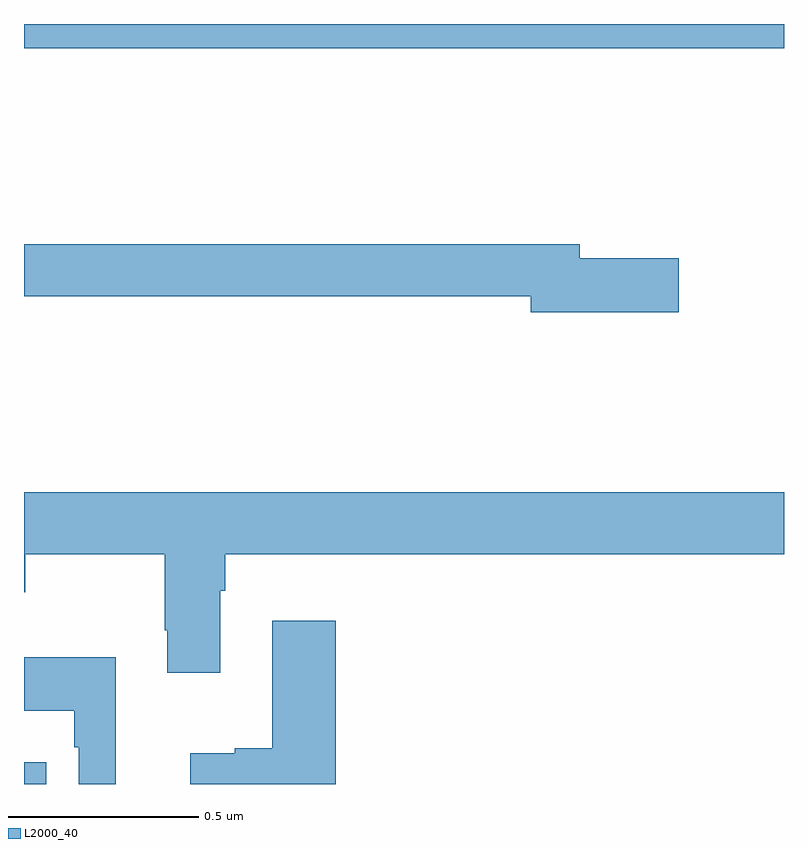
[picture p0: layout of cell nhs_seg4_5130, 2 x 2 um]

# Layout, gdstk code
import gdstk
lib = gdstk.Library(unit=1e-6, precision=1e-09)
def R(c, l, rs):  # rectangles x0, y0, x1, y1
    for r in rs: c.add(gdstk.rectangle(r[:2], r[2:], *l))
def P(c, l, *ps):  # polygons
    for p in ps: c.add(gdstk.Polygon(p, *l))
L2000_40 = (2000, 40)

nhs_seg4_5130 = lib.new_cell('nhs_seg4_5130')
R(nhs_seg4_5130, L2000_40, [(174,778.9,174.059,778.957), (174,780.836,176,780.9)])
P(nhs_seg4_5130, L2000_40, [(175.723,780.284),(175.462,780.284),(175.462,780.32),(174,780.32),(174,780.184),(175.334,780.184),(175.334,780.142),(175.723,780.142)],
  [(174.517,779.408),(174.53,779.408),(174.53,779.504),(176,779.504),(176,779.668),(174,779.668),(174,779.405),(174.003,779.405),(174.003,779.504),(174.37,779.504),(174.37,779.305),(174.377,779.305),(174.377,779.193),(174.517,779.193)],
  [(174.821,779.329),(174.653,779.329),(174.653,778.994),(174.554,778.994),(174.554,778.981),(174.438,778.981),(174.438,778.9),(174.821,778.9)],
  [(174.242,779.233),(174,779.233),(174,779.093),(174.132,779.093),(174.132,778.997),(174.144,778.997),(174.144,778.9),(174.242,778.9)])

lib.write_gds('nhs_seg4_5130.gds')
